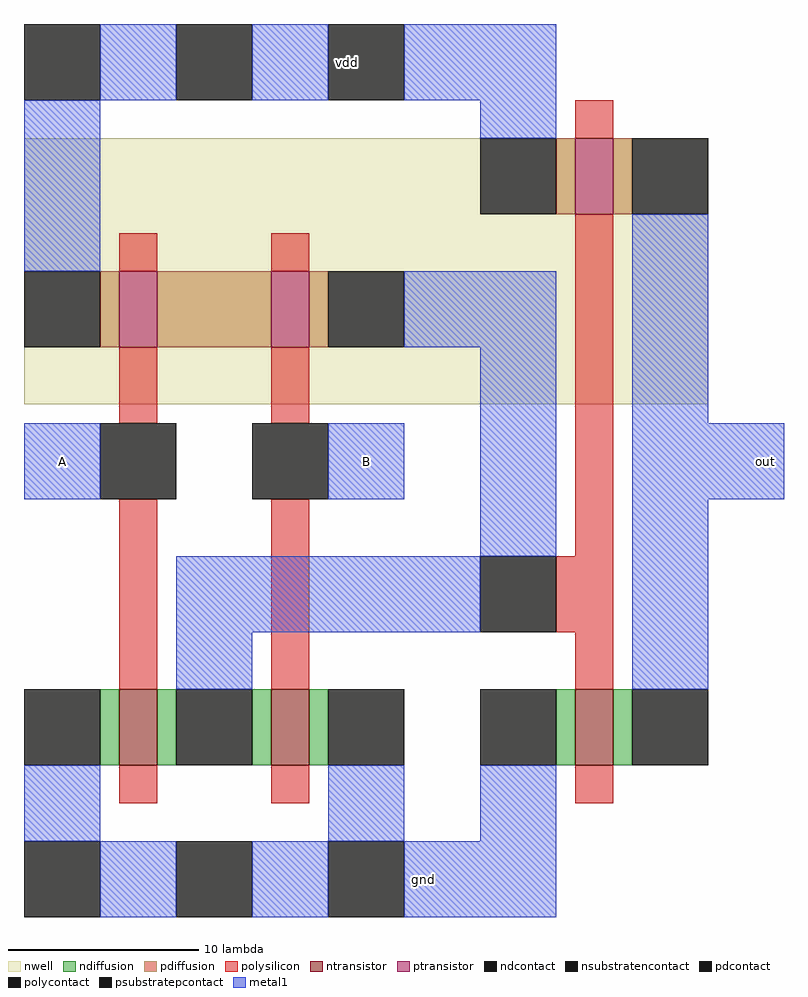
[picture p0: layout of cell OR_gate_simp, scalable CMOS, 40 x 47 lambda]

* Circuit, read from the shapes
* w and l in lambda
.subckt OR_gate_simp A B gnd out vdd
M1 n1 A gnd gnd nfet w=4 l=2
M2 gnd B n1 gnd nfet w=4 l=2
M3 out n1 gnd gnd nfet w=4 l=2
M4 n2 A vdd n3 pfet w=4 l=2
M5 n1 B n2 n3 pfet w=4 l=2
M6 out n1 vdd n3 pfet w=4 l=2
.ends

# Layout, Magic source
magic
tech scmos
<< nwell >>
rect -10 16 26 30
<< polysilicon >>
rect 19 30 21 32
rect -5 23 -3 25
rect 3 23 5 25
rect -5 15 -3 19
rect 3 15 5 19
rect -5 1 -3 11
rect 3 1 5 11
rect 19 8 21 26
rect 18 4 21 8
rect 19 1 21 4
rect -5 -5 -3 -3
rect 3 -5 5 -3
rect 19 -5 21 -3
<< ndiffusion >>
rect -6 -3 -5 1
rect -3 -3 -2 1
rect 2 -3 3 1
rect 5 -3 6 1
rect 18 -3 19 1
rect 21 -3 22 1
<< pdiffusion >>
rect 18 26 19 30
rect 21 26 22 30
rect -6 19 -5 23
rect -3 19 3 23
rect 5 19 6 23
<< metal1 >>
rect -6 32 -2 36
rect 2 32 6 36
rect 10 32 18 36
rect -10 23 -6 32
rect 14 30 18 32
rect 10 19 18 23
rect -10 11 -6 15
rect 6 11 10 15
rect 14 8 18 19
rect -2 4 14 8
rect 22 15 26 26
rect 22 11 30 15
rect -2 1 2 4
rect 22 1 26 11
rect -10 -7 -6 -3
rect 6 -7 10 -3
rect 14 -7 18 -3
rect -6 -11 -2 -7
rect 2 -11 6 -7
rect 10 -11 18 -7
<< ntransistor >>
rect -5 -3 -3 1
rect 3 -3 5 1
rect 19 -3 21 1
<< ptransistor >>
rect 19 26 21 30
rect -5 19 -3 23
rect 3 19 5 23
<< polycontact >>
rect -6 11 -2 15
rect 2 11 6 15
rect 14 4 18 8
<< ndcontact >>
rect -10 -3 -6 1
rect -2 -3 2 1
rect 6 -3 10 1
rect 14 -3 18 1
rect 22 -3 26 1
<< pdcontact >>
rect 14 26 18 30
rect 22 26 26 30
rect -10 19 -6 23
rect 6 19 10 23
<< psubstratepcontact >>
rect -10 -11 -6 -7
rect -2 -11 2 -7
rect 6 -11 10 -7
<< nsubstratencontact >>
rect -10 32 -6 36
rect -2 32 2 36
rect 6 32 10 36
<< labels >>
rlabel nsubstratencontact 7 34 7 34 5 vdd
rlabel metal1 -8 13 -8 13 3 A
rlabel metal1 8 13 8 13 1 B
rlabel metal1 11 -9 11 -9 1 gnd
rlabel metal1 29 13 29 13 7 out
<< end >>
